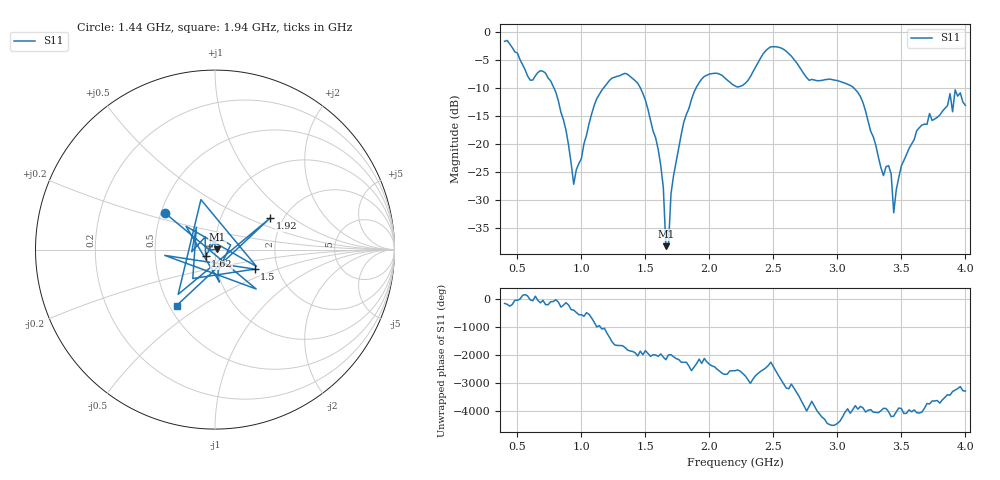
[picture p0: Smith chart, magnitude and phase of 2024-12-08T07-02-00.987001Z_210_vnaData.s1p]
!Created with skrf (http://scikit-rf.org).
# Hz S RI R 50.0
!freq ReS11 ImS11
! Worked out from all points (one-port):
!   181 points, 400 MHz to 4 GHz, reference 50 ohm
!   lowest |S11| = -38.2 dB at 1.66 GHz (marker M1), VSWR 1.02, Z = 51.2 + j0.18 ohm
!   |S11| at or under -10 dB: 784.5 MHz to 1.174 GHz (389.5 MHz wide, 39.8 % of centre); 1.46 GHz to 1.896 GHz (435.7 MHz wide, 26 % of centre); 3.127 GHz to end of sweep
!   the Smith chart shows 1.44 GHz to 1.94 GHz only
!   S11 on the Smith chart (normalised r, x): 1.44 GHz: 0.52, +0.24; 1.5 GHz: 1.52, -0.35; 1.62 GHz: 0.90, -0.07; 1.92 GHz: 1.71, +0.68; 1.94 GHz: 0.54, -0.40
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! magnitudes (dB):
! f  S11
! 400 MHz  -1.7
! 600 MHz  -8.6
! 720 MHz  -7.4
! 860 MHz  -15.7
! 940 MHz  -27.2
! 1.12 GHz  -11.9
! 1.3 GHz  -7.8
! 1.44 GHz  -9.2
! 1.5 GHz  -12.2
! 1.62 GHz  -23.8
! 1.64 GHz  -27.8
! 1.66 GHz  -38.2
! 1.68 GHz  -38.1
! 1.7 GHz  -28.9
! 1.76 GHz  -20.8
! 1.92 GHz  -9.1
! 1.94 GHz  -8.4
! 2.2 GHz  -9.7
! 2.48 GHz  -2.7
! 2.66 GHz  -4.9
! 3.1 GHz  -9.6
! 3.2 GHz  -12.6
! 3.36 GHz  -25.6
! 3.4 GHz  -23.9
! 3.44 GHz  -32.3
! 3.56 GHz  -20.8
! 3.88 GHz  -11.0
! 4 GHz  -13.1
